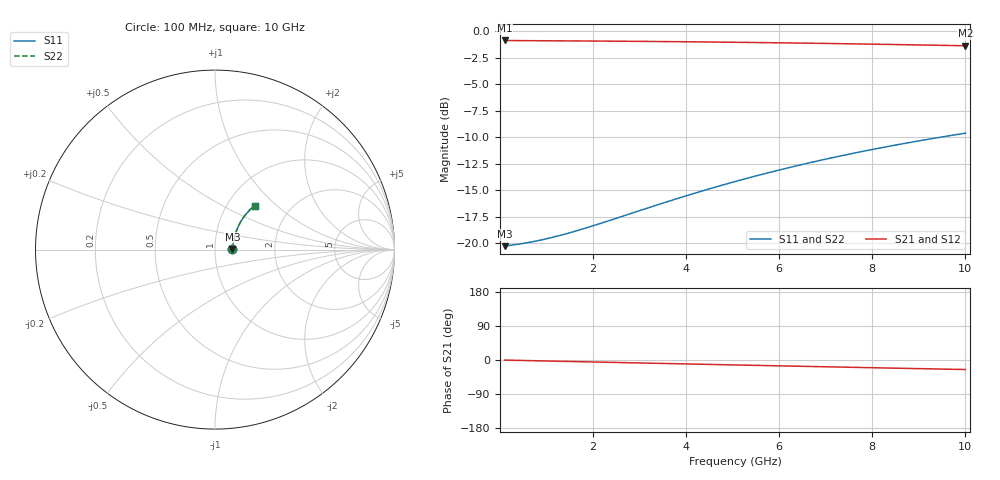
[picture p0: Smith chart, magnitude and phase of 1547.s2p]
# Hz S RI R 50.00
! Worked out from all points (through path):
!   100 points, 100 MHz to 10 GHz, reference 50 ohm
!   highest |S21| = -0.88 dB at 100 MHz (marker M1); lowest = -1.4 dB at 10 GHz (marker M2)
!   group delay of S21, straight-line fit = 7 ps
!   lowest |S11| = -20.3 dB at 100 MHz (marker M3), VSWR 1.21, Z = 60.7 + j0.363 ohm
!   |S11| at or under -10 dB: start of sweep to 9.468 GHz
!   |S22| runs from -20.3 to -9.6 dB; largest |S21 - S12| = 0
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1e8  0.0969 0.00296  0.9031 -0.00412  0.9031 -0.00412  0.0969 0.00296
6e8  0.0992 0.0176  0.9008 -0.0246  0.9008 -0.0246  0.0992 0.0176
9e8  0.1004 0.0264  0.8995 -0.0369  0.8995 -0.0369  0.1004 0.0264
1.1e9  0.1013 0.0322  0.8986 -0.045  0.8986 -0.045  0.1013 0.0322
1.3e9  0.1022 0.038  0.8977 -0.0531  0.8977 -0.0531  0.1022 0.038
1.5e9  0.1032 0.0438  0.8966 -0.0612  0.8966 -0.0612  0.1032 0.0438
1.8e9  0.1048 0.0524  0.8949 -0.0733  0.8949 -0.0733  0.1048 0.0524
2.3e9  0.108 0.0667  0.8916 -0.0934  0.8916 -0.0934  0.108 0.0667
3.4e9  0.117 0.0973  0.8822 -0.1368  0.8822 -0.1368  0.117 0.0973
3.9e9  0.1219 0.1108  0.8769 -0.1562  0.8769 -0.1562  0.1219 0.1108
4.3e9  0.1263 0.1214  0.8723 -0.1714  0.8723 -0.1714  0.1263 0.1214
4.7e9  0.1311 0.1318  0.8673 -0.1865  0.8673 -0.1865  0.1311 0.1318
5.1e9  0.1361 0.142  0.862 -0.2014  0.862 -0.2014  0.1361 0.142
5.5e9  0.1415 0.152  0.8563 -0.216  0.8563 -0.216  0.1415 0.152
5.9e9  0.1473 0.1617  0.8502 -0.2304  0.8502 -0.2304  0.1473 0.1617
6.3e9  0.1533 0.1712  0.8438 -0.2446  0.8438 -0.2446  0.1533 0.1712
6.7e9  0.1596 0.1804  0.8372 -0.2585  0.8372 -0.2585  0.1596 0.1804
7.5e9  0.1731 0.198  0.8229 -0.2855  0.8229 -0.2855  0.1731 0.198
7.9e9  0.1802 0.2064  0.8153 -0.2986  0.8153 -0.2986  0.1802 0.2064
8.4e9  0.1894 0.2164  0.8055 -0.3145  0.8055 -0.3145  0.1894 0.2164
9.2e9  0.2049 0.2315  0.789 -0.339  0.789 -0.339  0.2049 0.2315
1e10  0.2211 0.2453  0.7717 -0.3623  0.7717 -0.3623  0.2211 0.2453
